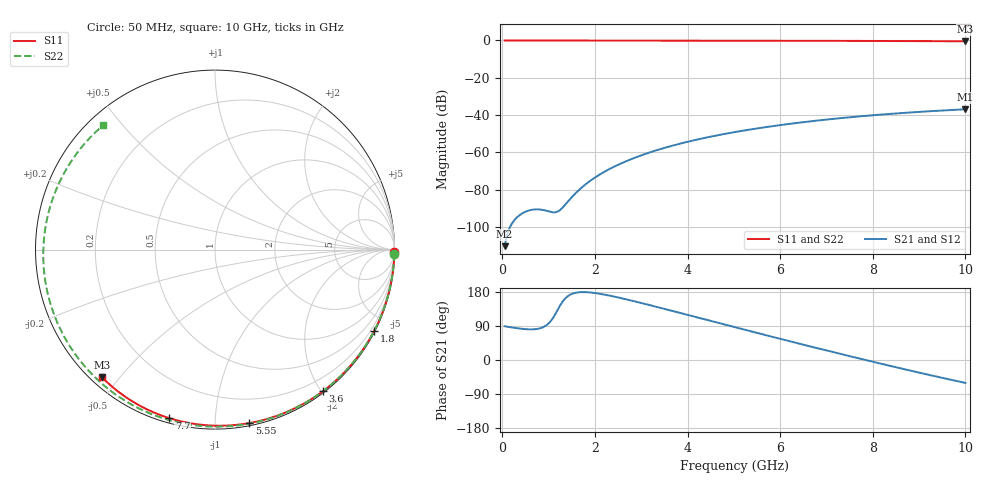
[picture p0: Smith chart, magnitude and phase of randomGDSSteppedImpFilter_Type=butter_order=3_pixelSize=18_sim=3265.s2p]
! freq	dB(S11)	phase(S11)	dB(S12)	phase(S12)
!  dB(S21)	phase(S21)	dB(S22)	phase(S22)
!S-par simulation data
#  GHz  S  DB  R 50
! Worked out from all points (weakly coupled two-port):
!   200 points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, 50 MHz to 10 GHz, reference 50 ohm
!   highest |S21| = -36.93 dB at 10 GHz (marker M1); lowest = -110.4 dB at 50 MHz (marker M2)
!   lowest |S11| = -0.4 dB at 10 GHz (marker M3), VSWR 38.88, Z = 1.55 - j22.5 ohm
!   |S11| at or under -10 dB: nowhere
!   |S22| runs from -0.6 to 0.0 dB; largest |S21 - S12| = 0
!   S11 on the Smith chart (normalised r, x): 50 MHz: open; 1.8 GHz: 0.04, -4.17; 3.6 GHz: 0.02, -2.02; 5.55 GHz: 0.02, -1.22; 7.7 GHz: 0.02, -0.76; 10 GHz: 0.03, -0.45
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0.05  -0.00 -0.8  -110.37 89.2  -110.37 89.2  -0.00 -1.4
0.4  -0.01 -6.1  -93.25 82.6  -93.25 82.6  -0.01 -10.8
0.8  -0.02 -12.1  -90.67 83.2  -90.67 83.2  -0.03 -21.5
1.2  -0.02 -18.1  -91.78 133.4  -91.78 133.4  -0.04 -32.0
1.65  -0.03 -24.8  -80.35 178.7  -80.35 178.7  -0.06 -43.7
1.75  -0.03 -26.2  -78.17 179.3  -78.17 179.3  -0.06 -46.2
1.8  -0.03 -27.0  -77.15 179.1  -77.15 179.1  -0.06 -47.5
2.1  -0.04 -31.4  -71.99 174.9  -71.99 174.9  -0.07 -55.1
2.45  -0.05 -36.5  -67.30 166.4  -67.30 166.4  -0.08 -63.7
2.9  -0.06 -42.9  -62.57 153.5  -62.57 153.5  -0.09 -74.6
3.4  -0.07 -50.0  -58.39 138.1  -58.39 138.1  -0.11 -86.2
3.6  -0.07 -52.8  -56.95 131.8  -56.95 131.8  -0.12 -90.8
4.3  -0.09 -62.3  -52.66 109.5  -52.66 109.5  -0.15 -106.4
5.05  -0.11 -72.3  -49.04 85.7  -49.04 85.7  -0.18 -122.4
5.55  -0.13 -78.8  -47.02 69.9  -47.02 69.9  -0.21 -132.8
6.15  -0.15 -86.4  -44.93 51.2  -44.93 51.2  -0.25 -145.1
6.7  -0.18 -93.2  -43.27 34.3  -43.27 34.3  -0.29 -156.3
7.2  -0.21 -99.3  -41.94 19.2  -41.94 19.2  -0.33 -166.5
7.7  -0.24 -105.2  -40.77 4.2  -40.77 4.2  -0.37 -176.8
8.35  -0.29 -112.8  -39.44 -14.8  -39.44 -14.8  -0.44 169.5
9.15  -0.36 -122.0  -38.09 -37.5  -38.09 -37.5  -0.52 151.9
10  -0.45 -131.6  -36.93 -60.5  -36.93 -60.5  -0.62 132.0
